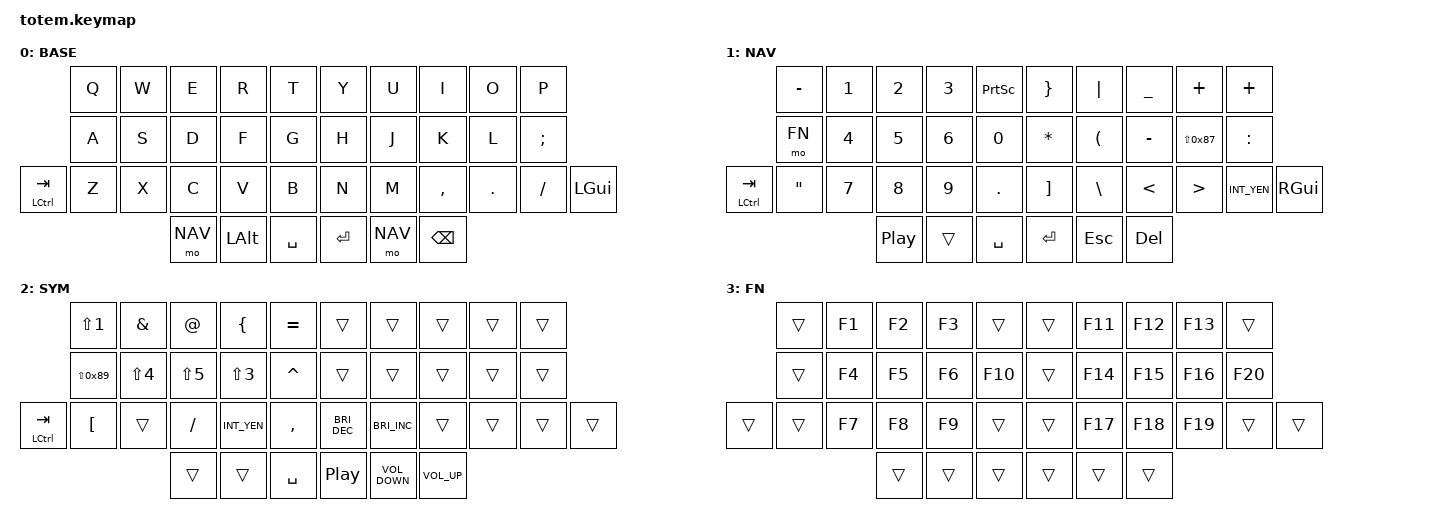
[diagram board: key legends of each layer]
//
//                                                        ▀▀▀▀▀     ▀▀▀▀▀          ▀▀█▀▀
//                                                        ▄▀▀▀▄  ▄  ▄▀▀▀▄  ▄  ▄▀▀▀▄  █  ▄▀▀▀▄
//                                                        █   █  █  █   █  █  █   █  █  █   █
//                                                         ▀▀▀   █   ▀▀▀   █   ▀▀▀   ▀   ▀▀▀
//                                                               █      ▄▄▄█▄▄▄    █   █  
//                                                               ▀      █  █  █     █▄█
//                                                             ▀▀▀▀▀    █  █  █      ▀
//                                                                      ▀  ▀  ▀
//
// ▄▄▄▄▄▄▄▄▄▄▄▄▄▄▄▄▄▄▄▄▄▄▄▄▄▄▄▄▄▄▄▄▄▄▄▄▄▄▄▄▄▄▄▄▄▄▄▄▄▄▄▄▄▄▄▄▄▄▄▄▄▄▄▄▄▄▄▄▄▄▄▄▄▄▄▄▄▄▄▄▄▄▄▄▄▄▄▄▄▄▄▄▄▄▄▄▄▄▄▄▄▄▄▄▄▄▄▄▄▄▄▄▄▄▄▄▄▄▄▄▄▄▄▄▄▄▄▄▄▄▄▄▄▄▄▄▄▄▄▄▄▄▄▄▄▄▄▄▄

#include <behaviors.dtsi>
#include <dt-bindings/zmk/keys.h>

#define BASE 0
#define NAV  1
#define SYM  2
#define FN   3

#define JP_DQUOTE       AT                // "
#define JP_AMPERSAND    CARET             // &
#define JP_QUOTE        AMPERSAND         // '
#define JP_EQUAL        UNDER             // =
#define JP_CARET        EQUAL             // ^
#define JP_YEN          0x89              // ¥
#define JP_PLUS         COLON             // +
#define JP_TILDE        PLUS              // ~
#define JP_PIPE         LS(0x89)          // |
#define JP_AT           LEFT_BRACKET      // @
#define JP_COLON        SINGLE_QUOTE      // :
#define JP_ASTERISK     DOUBLE_QUOTES     // *
#define JP_BACKQUOTE    LEFT_BRACE        // `
#define JP_UNDERSCORE   LS(0x87)          // _
#define JP_LBRACKET     RIGHT_BRACKET     // [
#define JP_RBRACKET     BACKSLASH         // ]
#define JP_LPAREN       ASTERISK          // (
#define JP_RPAREN       LEFT_PARENTHESIS  // )
#define JP_LBRACE       RIGHT_BRACE       // {
#define JP_RBRACE       PIPE              // }
#define JP_KANA         LANGUAGE_1        // かな
#define JP_EISU         LANGUAGE_2        // 英数
#define JP_HANZEN       GRAVE             // 半角/全角


&mt {
  quick-tap-ms = <60>;
  global-quick-tap;
  flavor = "tap-preferred";
  tapping-term-ms = <190>;
};

/ {
//   behaviors {
//      colon_override: colon_override {
//          compatible = "zmk,behavior-mod-morph";
//          #binding-cells = <0>;
//          bindings = <&kp SEMI>, <&kp JP_COLON>;
//          mods = <(MOD_LSFT|MOD_RSFT)>;
//      };
//        unicode: unicode {
//            compatible = "zmk,behavior-unicode";
//            // Choose one of the input modes below depending on your OS
//            input-mode = "win-compose";   // or "linux", "macos"
//        };
//  };
    combos {
        compatible = "zmk,combos";

        combo_mo_nav_1 {
            timeout-ms = <60>;
            key-positions = <17 27>; // K + M
            bindings = <&mo NAV>;
        };

        combo_mo_nav_2 {
            timeout-ms = <60>;
            key-positions = <12 13>; // D + F
            bindings = <&mo NAV>;
        };

        combo_mo_sym {
            timeout-ms = <60>;
            key-positions = <16 17>; // J + K
            bindings = <&mo SYM>;
        };

        combo_esc_xc {
            timeout-ms = <55>;
            key-positions = <11 12>; // X + C swapped with lshift
            bindings = <&kp ESC>;
        };

        combo_lshift {
            timeout-ms = <60>;
            key-positions = <22 23>; // S + D
            bindings = <&mt LSHFT CAPS>;
        };

        combo_rshift {
            timeout-ms = <60>;
            key-positions = <28 29>; // K + L swapped with colon
            bindings = <&mt RSHFT CAPS>;
        };

        combo_colon_,. {
            timeout-ms = <55>;
            key-positions = <17 18>; // X + C
            bindings = <&kp JP_COLON>;
        };

        combo_han_zen_,. {
            timeout-ms = <55>;
            key-positions = <27 28>; // X + C
            bindings = <&kp JP_HANZEN>;
        };

        combo_han_zen_cv {
            timeout-ms = <55>;
            key-positions = <23 24>; // X + C
            bindings = <&kp JP_HANZEN>;
        };

        combo_y {
            timeout-ms = <55>;
            key-positions = <3 4>; // R + T
            bindings = <&kp Y>;
        };

        combo_arrows_down {
            timeout-ms = <55>;
            key-positions = <36 16>; // ESC + J
            bindings = <&kp DOWN>;
        };

        combo_arrows_up {
            timeout-ms = <55>;
            key-positions = <36 17>; // ESC + K
            bindings = <&kp UP>;
        };

        combo_arrows_right {
            timeout-ms = <55>;
            key-positions = <36 18>; // ESC + L
            bindings = <&kp RIGHT>;
        };

        combo_arrows_left {
            timeout-ms = <55>;
            key-positions = <36 15>; // ESC + H
            bindings = <&kp LEFT>;
        };
    };

    keymap {
        compatible = "zmk,keymap";

// ▄▄▄▄▄▄▄▄▄▄▄▄▄▄▄▄▄▄▄▄▄▄▄▄▄▄▄▄▄▄▄▄▄▄▄▄▄▄▄▄▄▄▄▄▄▄▄▄▄▄▄▄▄▄▄▄▄▄▄▄▄▄▄▄▄▄▄▄▄▄▄▄▄▄▄▄▄▄▄▄▄▄▄▄▄▄▄▄▄▄▄▄▄▄▄▄▄▄▄▄▄▄▄▄▄▄▄▄▄▄▄▄▄▄▄▄▄▄▄▄▄▄▄▄▄▄▄▄▄▄▄▄▄▄▄▄▄▄▄▄▄▄▄▄▄▄▄▄▄

        base_layer {
// ┏━━━━━━━━━━━━━━━━━━━━━━━━━━━━━━━━━━━━━━━┓
label= "BASE"                              ;
// ┗━━━━━━━━━━━━━━━━━━━━━━━━━━━━━━━━━━━━━━━┛
//             ┏━━━━━━━━━━━┳━━━━━━━━━━━┳━━━━━━━━━━━┳━━━━━━━━━━━┳━━━━━━━━━━━┓   ┏━━━━━━━━━━━┳━━━━━━━━━━━┳━━━━━━━━━━━┳━━━━━━━━━━━┳━━━━━━━━━━━┓
//             ┃     Q     ┃     W     ┃     E     ┃     R     ┃     T     ┃   ┃     Y     ┃     U     ┃     I     ┃     O     ┃     P     ┃
//             ┣━━━━━━━━━━━╋━━━━━━━━━━━╋━━━━━━━━━━━╋━━━━━━━━━━━╋━━━━━━━━━━━┫   ┣━━━━━━━━━━━╋━━━━━━━━━━━╋━━━━━━━━━━━╋━━━━━━━━━━━╋━━━━━━━━━━━┫
//             ┃     A     ┃     S     ┃     D     ┃     F     ┃     G     ┃   ┃     H     ┃     J     ┃     K     ┃     L     ┃     ;     ┃
// ┏━━━━━━━━━━━╋━━━━━━━━━━━╋━━━━━━━━━━━╋━━━━━━━━━━━╋━━━━━━━━━━━╋━━━━━━━━━━━┫   ┣━━━━━━━━━━━╋━━━━━━━━━━━╋━━━━━━━━━━━╋━━━━━━━━━━━╋━━━━━━━━━━━╋━━━━━━━━━━━┓
// ┃  TAB/CTRL ┃     Z     ┃     X     ┃     C     ┃     V     ┃     B     ┃   ┃     N     ┃     M     ┃     ,     ┃     .     ┃     /     ┃   LGUI    ┃
// ┗━━━━━━━━━━━┻━━━━━━━━━━━┻━━━━━━━━━━━╋━━━━━━━━━━━╋━━━━━━━━━━━╋━━━━━━━━━━━┫   ┣━━━━━━━━━━━╋━━━━━━━━━━━╋━━━━━━━━━━━╋━━━━━━━━━━━┻━━━━━━━━━━━┻━━━━━━━━━━━┛
//                                     ┃  MO(NAV)  ┃   LALT    ┃   SPACE   ┃   ┃   ENTER   ┃  MO(NAV)  ┃   BSPC    ┃
//                                     ┗━━━━━━━━━━━┻━━━━━━━━━━━┻━━━━━━━━━━━┛   ┗━━━━━━━━━━━┻━━━━━━━━━━━┻━━━━━━━━━━━┛
            bindings = <
// ╷           ╷           ╷           ╷           ╷           ╷           ╷   ╷           ╷           ╷           ╷           ╷           ╷           ╷

                &kp Q       &kp W       &kp E       &kp R       &kp T           &kp Y       &kp U       &kp I       &kp O       &kp P
                &kp A       &kp S       &kp D       &kp F       &kp G           &kp H       &kp J       &kp K       &kp L       &kp SEMI
    &mt LCTRL TAB &kp Z     &kp X       &kp C       &kp V       &kp B           &kp N       &kp M       &kp COMMA   &kp DOT     &kp FSLH    &kp LGUI
                                        &mo NAV     &kp LALT   &kp SPACE     &kp RET     &mo NAV     &kp BSPC
            >;
        };
// ▄▄▄▄▄▄▄▄▄▄▄▄▄▄▄▄▄▄▄▄▄▄▄▄▄▄▄▄▄▄▄▄▄▄▄▄▄▄▄▄▄▄▄▄▄▄▄▄▄▄▄▄▄▄▄▄▄▄▄▄▄▄▄▄▄▄▄▄▄▄▄▄▄▄▄▄▄▄▄▄▄▄▄▄▄▄▄▄▄▄▄▄▄▄▄▄▄▄▄▄▄▄▄▄▄▄▄▄▄▄▄▄▄▄▄▄▄▄▄▄▄▄▄▄▄▄▄▄▄▄▄▄▄▄▄▄▄▄▄▄▄▄▄▄▄▄▄▄▄

        nav_layer {
// ┏━━━━━━━━━━━━━━━━━━━━━━━━━━━━━━━━━━━━━━━┓
label= "NAV"                               ;
// ┗━━━━━━━━━━━━━━━━━━━━━━━━━━━━━━━━━━━━━━━┛
//             ┏━━━━━━━━━━━┳━━━━━━━━━━━┳━━━━━━━━━━━┳━━━━━━━━━━━┳━━━━━━━━━━━┓   ┏━━━━━━━━━━━┳━━━━━━━━━━━┳━━━━━━━━━━━┳━━━━━━━━━━━┳━━━━━━━━━━━┓
//             ┃     -     ┃     1     ┃     2     ┃     3     ┃   PSCRN   ┃   ┃    }      ┃     {     ┃     =     ┃     ~     ┃     |     ┃
//             ┣━━━━━━━━━━━╋━━━━━━━━━━━╋━━━━━━━━━━━╋━━━━━━━━━━━╋━━━━━━━━━━━┫   ┣━━━━━━━━━━━╋━━━━━━━━━━━╋━━━━━━━━━━━╋━━━━━━━━━━━╋━━━━━━━━━━━┫
//             ┃   MO(FN)  ┃     4     ┃     5     ┃     6     ┃     0     ┃   ┃     )     ┃     (     ┃     -     ┃     _     ┃     +     ┃
// ┏━━━━━━━━━━━╋━━━━━━━━━━━╋━━━━━━━━━━━╋━━━━━━━━━━━╋━━━━━━━━━━━╋━━━━━━━━━━━┫   ┣━━━━━━━━━━━╋━━━━━━━━━━━╋━━━━━━━━━━━╋━━━━━━━━━━━╋━━━━━━━━━━━╋━━━━━━━━━━━┓
// ┃  TAB/CTRL ┃     *     ┃     7     ┃     8     ┃     9     ┃     .     ┃   ┃    ]      ┃     [     ┃     <     ┃     >     ┃     \     ┃     LGUI  ┃
// ┗━━━━━━━━━━━┻━━━━━━━━━━━┻━━━━━━━━━━━╋━━━━━━━━━━━╋━━━━━━━━━━━╋━━━━━━━━━━━┫   ┣━━━━━━━━━━━╋━━━━━━━━━━━╋━━━━━━━━━━━╋━━━━━━━━━━━┻━━━━━━━━━━━┻━━━━━━━━━━━┛
//                                     ┃Play/Pause ┃ ||||||||| ┃   SPACE   ┃   ┃   ENTER   ┃  ESCAPE   ┃   DELETE  ┃
//                                     ┗━━━━━━━━━━━┻━━━━━━━━━━━┻━━━━━━━━━━━┛   ┗━━━━━━━━━━━┻━━━━━━━━━━━┻━━━━━━━━━━━┛
            bindings = <
// ╷           ╷           ╷           ╷           ╷           ╷           ╷   ╷           ╷           ╷           ╷           ╷           ╷           ╷
                &kp MINUS      &kp N1      &kp N2      &kp N3      &kp PSCRN              &kp JP_LBRACE      &kp JP_RBRACE       &kp JP_EQUAL    &kp JP_TILDE   &kp JP_TILDE 
                &mo FN      &kp N4      &kp N5      &kp N6      &kp N0                    &kp JP_LPAREN      &kp JP_RPAREN       &kp MINUS    &kp JP_UNDERSCORE   &kp JP_PLUS 
    &mt LCTRL TAB     &kp JP_ASTERISK      &kp N7      &kp N8      &kp N9      &kp DOT    &kp JP_LBRACKET    &kp JP_RBRACKET      &kp LESS_THAN &kp GREATER_THAN    &kp INT_YEN  &kp RGUI 
                                        &kp C_PLAY_PAUSE      &trans      &kp SPACE       &kp RET            &kp ESC            &kp DELETE
            >;
        };

// ▄▄▄▄▄▄▄▄▄▄▄▄▄▄▄▄▄▄▄▄▄▄▄▄▄▄▄▄▄▄▄▄▄▄▄▄▄▄▄▄▄▄▄▄▄▄▄▄▄▄▄▄▄▄▄▄▄▄▄▄▄▄▄▄▄▄▄▄▄▄▄▄▄▄▄▄▄▄▄▄▄▄▄▄▄▄▄▄▄▄▄▄▄▄▄▄▄▄▄▄▄▄▄▄▄▄▄▄▄▄▄▄▄▄▄▄▄▄▄▄▄▄▄▄▄▄▄▄▄▄▄▄▄▄▄▄▄▄▄▄▄▄▄▄▄▄▄▄▄

        sym_layer {
// ┏━━━━━━━━━━━━━━━━━━━━━━━━━━━━━━━━━━━━━━━┓
label= "SYM"                               ;
// ┗━━━━━━━━━━━━━━━━━━━━━━━━━━━━━━━━━━━━━━━┛
//             ┏━━━━━━━━━━━┳━━━━━━━━━━━┳━━━━━━━━━━━┳━━━━━━━━━━━┳━━━━━━━━━━━┓   ┏━━━━━━━━━━━┳━━━━━━━━━━━┳━━━━━━━━━━━┳━━━━━━━━━━━┳━━━━━━━━━━━┓
//             ┃    !      ┃     '     ┃     "     ┃     `     ┃     ^     ┃   ┃           ┃           ┃           ┃           ┃           ┃
//             ┣━━━━━━━━━━━╋━━━━━━━━━━━╋━━━━━━━━━━━╋━━━━━━━━━━━╋━━━━━━━━━━━┫   ┣━━━━━━━━━━━╋━━━━━━━━━━━╋━━━━━━━━━━━╋━━━━━━━━━━━╋━━━━━━━━━━━┫
//             ┃     |     ┃     $     ┃     %     ┃     #     ┃     &     ┃   ┃           ┃           ┃           ┃           ┃           ┃
// ┏━━━━━━━━━━━╋━━━━━━━━━━━╋━━━━━━━━━━━╋━━━━━━━━━━━╋━━━━━━━━━━━╋━━━━━━━━━━━┫   ┣━━━━━━━━━━━╋━━━━━━━━━━━╋━━━━━━━━━━━╋━━━━━━━━━━━╋━━━━━━━━━━━╋━━━━━━━━━━━┓
// ┃  TAB/CTRL ┃     @     ┃     ,     ┃     /     ┃     \     ┃     ,     ┃   ┃    brt=   ┃   brt+    ┃           ┃           ┃           ┃           ┃
// ┗━━━━━━━━━━━┻━━━━━━━━━━━┻━━━━━━━━━━━╋━━━━━━━━━━━╋━━━━━━━━━━━╋━━━━━━━━━━━┫   ┣━━━━━━━━━━━╋━━━━━━━━━━━╋━━━━━━━━━━━╋━━━━━━━━━━━┻━━━━━━━━━━━┻━━━━━━━━━━━┛
//                                     ┃           ┃           ┃   SPACE   ┃   ┃ Play/Pause┃    vol-   ┃    vol+   ┃
//                                     ┗━━━━━━━━━━━┻━━━━━━━━━━━┻━━━━━━━━━━━┛   ┗━━━━━━━━━━━┻━━━━━━━━━━━┻━━━━━━━━━━━┛
            bindings = <
// ╷              ╷               ╷                 ╷              ╷               ╷                ╷   ╷           ╷           ╷           ╷           ╷           ╷           ╷
                  &kp LS(N1)       &kp JP_QUOTE   &kp JP_DQUOTE   &kp JP_BACKQUOTE   &kp JP_CARET                 &trans      &trans      &trans      &trans      &trans
                  &kp JP_PIPE      &kp LS(N4)        &kp LS(N5)  &kp LS(N3)        &kp JP_AMPERSAND          &trans      &trans      &trans      &trans      &trans
    &mt LCTRL TAB &kp JP_AT         &trans         &kp FSLH      &kp INT_YEN           &kp COMMA              &kp C_BRIGHTNESS_DEC      &kp C_BRIGHTNESS_INC      &trans      &trans      &trans      &trans
                                                     &trans         &trans          &kp SPACE              &kp C_PLAY_PAUSE          &kp C_VOLUME_DOWN         &kp C_VOLUME_UP
            >;
        };
// ▄▄▄▄▄▄▄▄▄▄▄▄▄▄▄▄▄▄▄▄▄▄▄▄▄▄▄▄▄▄▄▄▄▄▄▄▄▄▄▄▄▄▄▄▄▄▄▄▄▄▄▄▄▄▄▄▄▄▄▄▄▄▄▄▄▄▄▄▄▄▄▄▄▄▄▄▄▄▄▄▄▄▄▄▄▄▄▄▄▄▄▄▄▄▄▄▄▄▄▄▄▄▄▄▄▄▄▄▄▄▄▄▄▄▄▄▄▄▄▄▄▄▄▄▄▄▄▄▄▄▄▄▄▄▄▄▄▄▄▄▄▄▄▄▄▄▄▄▄

        fn_layer {
// ┏━━━━━━━━━━━━━━━━━━━━━━━━━━━━━━━━━━━━━━━┓
label= "FN"                                ;
// ┗━━━━━━━━━━━━━━━━━━━━━━━━━━━━━━━━━━━━━━━┛
//             ┏━━━━━━━━━━━┳━━━━━━━━━━━┳━━━━━━━━━━━┳━━━━━━━━━━━┳━━━━━━━━━━━┓   ┏━━━━━━━━━━━┳━━━━━━━━━━━┳━━━━━━━━━━━┳━━━━━━━━━━━┳━━━━━━━━━━━┓
//             ┃           ┃    F1     ┃    F2     ┃    F3     ┃           ┃   ┃           ┃    F11    ┃    F12    ┃    F13    ┃           ┃
//             ┣━━━━━━━━━━━╋━━━━━━━━━━━╋━━━━━━━━━━━╋━━━━━━━━━━━╋━━━━━━━━━━━┫   ┣━━━━━━━━━━━╋━━━━━━━━━━━╋━━━━━━━━━━━╋━━━━━━━━━━━╋━━━━━━━━━━━┫
//             ┃           ┃    F4     ┃    F5     ┃    F6     ┃    F10    ┃   ┃           ┃    F14    ┃    F15    ┃    F16    ┃    F20    ┃
// ┏━━━━━━━━━━━╋━━━━━━━━━━━╋━━━━━━━━━━━╋━━━━━━━━━━━╋━━━━━━━━━━━╋━━━━━━━━━━━┫   ┣━━━━━━━━━━━╋━━━━━━━━━━━╋━━━━━━━━━━━╋━━━━━━━━━━━╋━━━━━━━━━━━╋━━━━━━━━━━━┓
// ┃           ┃           ┃    F7     ┃    F8     ┃    F9     ┃           ┃   ┃           ┃    F17    ┃    F18    ┃    F19    ┃           ┃           ┃
// ┗━━━━━━━━━━━┻━━━━━━━━━━━┻━━━━━━━━━━━╋━━━━━━━━━━━╋━━━━━━━━━━━╋━━━━━━━━━━━┫   ┣━━━━━━━━━━━╋━━━━━━━━━━━╋━━━━━━━━━━━╋━━━━━━━━━━━┻━━━━━━━━━━━┻━━━━━━━━━━━┛
//                                     ┃           ┃           ┃           ┃   ┃           ┃           ┃           ┃
//                                     ┗━━━━━━━━━━━┻━━━━━━━━━━━┻━━━━━━━━━━━┛   ┗━━━━━━━━━━━┻━━━━━━━━━━━┻━━━━━━━━━━━┛
            bindings = <
// ╷           ╷           ╷           ╷           ╷           ╷           ╷   ╷           ╷           ╷           ╷           ╷           ╷           ╷
                &trans      &kp F1      &kp F2      &kp F3      &trans         &trans      &kp F11      &kp F12      &kp F13      &trans
                &trans      &kp F4      &kp F5      &kp F6      &kp F10         &trans      &kp F14      &kp F15     &kp F16      &kp F20
    &trans      &trans      &kp F7      &kp F8      &kp F9      &trans         &trans      &kp F17     &kp F18     &kp F19      &trans      &trans
                                        &trans      &trans      &trans          &trans      &trans      &trans
            >;
        };

// ▄▄▄▄▄▄▄▄▄▄▄▄▄▄▄▄▄▄▄▄▄▄▄▄▄▄▄▄▄▄▄▄▄▄▄▄▄▄▄▄▄▄▄▄▄▄▄▄▄▄▄▄▄▄▄▄▄▄▄▄▄▄▄▄▄▄▄▄▄▄▄▄▄▄▄▄▄▄▄▄▄▄▄▄▄▄▄▄▄▄▄▄▄▄▄▄▄▄▄▄▄▄▄▄▄▄▄▄▄▄▄▄▄▄▄▄▄▄▄▄▄▄▄▄▄▄▄▄▄▄▄▄▄▄▄▄▄▄▄▄▄▄▄▄▄▄▄▄▄
    };
};
